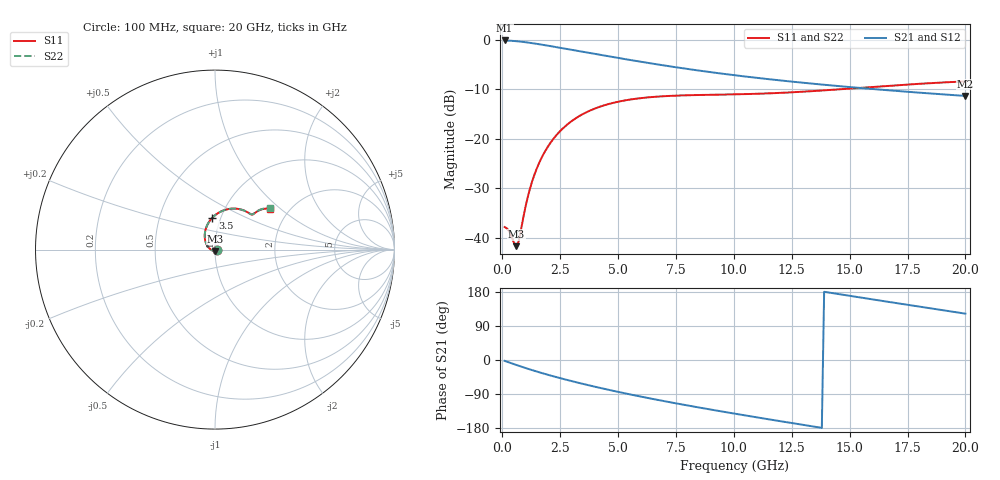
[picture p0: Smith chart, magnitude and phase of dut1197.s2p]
! Touchstone file exported from HFSS 2024.1.0
!  File:  C:/UserFiles/LocalFiles/RDL_TSV_Batchsim/temp_RDL_TSV_1197_1780129558.aedt
!  Generated:  04:44:28 PM May 30, 2026
!  Design:  RDL_TSV
!  Project:  temp_RDL_TSV_1197_1780129558
!  Setup:  Setup1
!  Solution:  Sweep
! Variables:
!  dtsv = 12.66um
!  hbump = 3um
!  htsv = 93.33um
!  ldown = 208.73um
!  lrdl = 643.99um
!  p = 40
!  p1 = 51.48um
!  rhole = 10um
!  subl = 3202.15um
!  t = 450um
!  tdown = 4.02um
!  trdl = 4.89um
!  viad = 10um
!  wdown = 24.49um
!  wrdl = 18.49um
!  xbump = 18um
# GHz S MA R 50.000000
! Terminal data exported
! Port[1] = TM1_1_T1
! Port[2] = TM1_4_T1
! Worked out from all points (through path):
!   200 points, 100 MHz to 20 GHz, reference 50 ohm
!   highest |S21| = -0.12 dB at 100 MHz (marker M1); lowest = -11.3 dB at 20 GHz (marker M2)
!   group delay of S21, straight-line fit = 31 ps
!   lowest |S11| = -41.7 dB at 600 MHz (marker M3), VSWR 1.02, Z = 50 - j0.821 ohm
!   |S11| at or under -10 dB: start of sweep to 14.55 GHz
!   |S22| runs from -41.7 to -8.4 dB; largest |S21 - S12| = 4.7e-14
!   S11 on the Smith chart (normalised r, x): 100 MHz: 1.03, -0.00; 3.5 GHz: 0.91, +0.34; 20 GHz: 1.60, +0.85
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0.1  0.01281 -6.6  0.9864 -2.2  0.9864 -2.2  0.01281 -6.6
! Gamma 0 0 0 0
! Port Impedance 50 0 50 0
0.3  0.01158 -26.3  0.9819 -6.6  0.9819 -6.6  0.01158 -26.3
0.5  0.008908 -61.3  0.9747 -10.9  0.9747 -10.9  0.008909 -61.3
0.6  0.008213 -89.2  0.9702 -13.0  0.9702 -13.0  0.008215 -89.2
0.7  0.009087 -120.4  0.9652 -15.0  0.9652 -15.0  0.009088 -120.3
1  0.02045 -175.3  0.9471 -21.1  0.9471 -21.1  0.02045 -175.3
1.2  0.03162 167.9  0.9332 -25.0  0.9332 -25.0  0.03162 167.9
1.4  0.04418 156.0  0.9184 -28.8  0.9184 -28.8  0.04418 156.0
1.7  0.06446 142.4  0.895 -34.3  0.895 -34.3  0.06445 142.4
2.1  0.09241 128.3  0.8631 -41.3  0.8631 -41.3  0.0924 128.3
2.5  0.1197 116.7  0.8315 -47.9  0.8315 -47.9  0.1197 116.7
3  0.1512 104.6  0.7931 -55.8  0.7931 -55.8  0.1512 104.6
3.5  0.1789 94.5  0.7563 -63.3  0.7563 -63.3  0.1788 94.5
4.2  0.2104 82.8  0.7078 -73.3  0.7078 -73.3  0.2104 82.8
5.1  0.2395 71.0  0.6509 -85.4  0.6509 -85.4  0.2394 71.0
6.8  0.2679 55.9  0.5599 -106.4  0.5599 -106.4  0.2677 56.0
8.4  0.2769 48.0  0.4927 -124.3  0.4927 -124.3  0.2767 48.1
10.1  0.2816 44.0  0.4371 -142.3  0.4371 -142.3  0.2815 44.2
11.7  0.2891 42.8  0.3959 -158.4  0.3959 -158.4  0.2891 43.0
13.4  0.3033 42.5  0.3607 -175.2  0.3607 -175.2  0.3037 42.7
16.7  0.3435 40.8  0.3089 153.2  0.3089 153.2  0.3445 40.9
20  0.3804 36.7  0.2713 122.3  0.2713 122.3  0.3821 36.9
